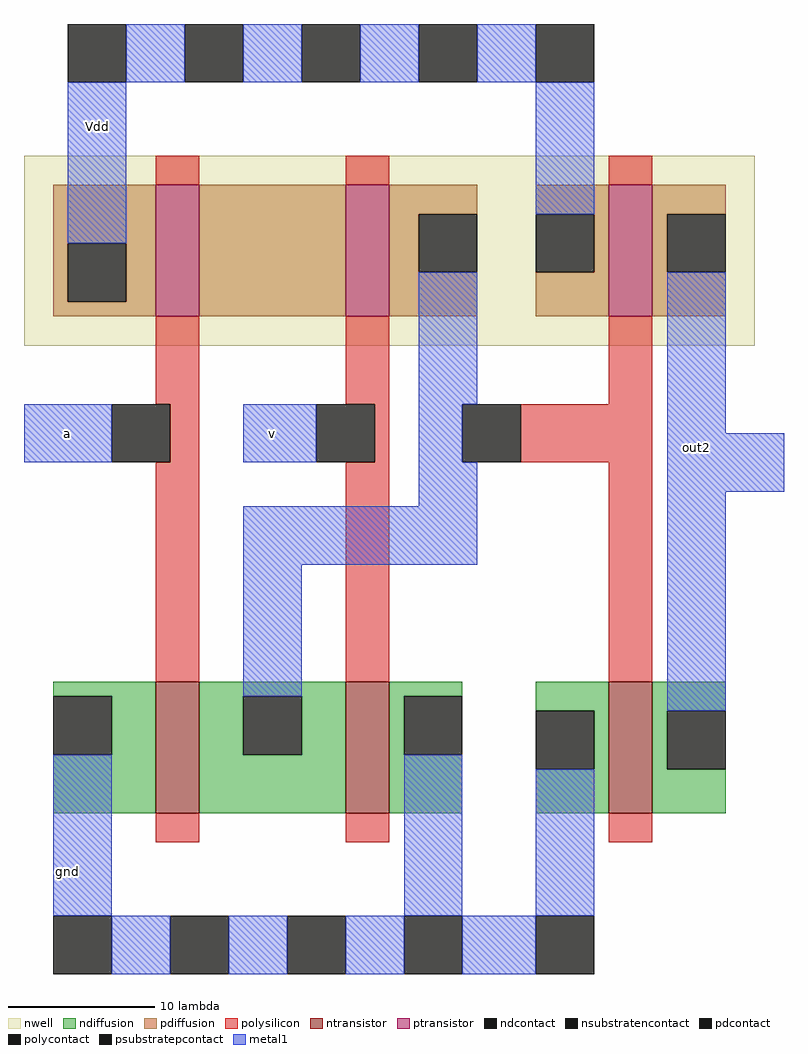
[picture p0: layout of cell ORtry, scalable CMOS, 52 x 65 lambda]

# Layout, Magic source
magic
tech scmos
<< nwell >>
rect -8 -5 42 8
<< polysilicon >>
rect 1 6 4 8
rect 14 6 17 8
rect 32 6 35 8
rect 1 -9 4 -3
rect 14 -9 17 -3
rect 32 -9 35 -3
rect 2 -13 4 -9
rect 16 -13 17 -9
rect 26 -13 35 -9
rect 1 -28 4 -13
rect 14 -28 17 -13
rect 32 -28 35 -13
rect 1 -39 4 -37
rect 14 -39 17 -37
rect 32 -39 35 -37
<< ndiffusion >>
rect -6 -29 1 -28
rect -2 -33 1 -29
rect -6 -37 1 -33
rect 4 -29 14 -28
rect 4 -33 7 -29
rect 11 -33 14 -29
rect 4 -37 14 -33
rect 17 -29 22 -28
rect 17 -33 18 -29
rect 17 -37 22 -33
rect 27 -30 32 -28
rect 31 -34 32 -30
rect 27 -37 32 -34
rect 35 -30 40 -28
rect 35 -34 36 -30
rect 35 -37 40 -34
<< pdiffusion >>
rect -6 2 1 6
rect -6 -2 -5 2
rect -1 -2 1 2
rect -6 -3 1 -2
rect 4 -3 14 6
rect 17 4 23 6
rect 17 0 19 4
rect 17 -3 23 0
rect 27 4 32 6
rect 31 0 32 4
rect 27 -3 32 0
rect 35 4 40 6
rect 35 0 36 4
rect 35 -3 40 0
<< metal1 >>
rect -1 13 3 17
rect 7 13 11 17
rect 15 13 19 17
rect 23 13 27 17
rect -5 2 -1 13
rect 27 4 31 13
rect 19 -9 23 0
rect -8 -13 -2 -9
rect 7 -13 12 -9
rect 19 -13 22 -9
rect 36 -11 40 0
rect 19 -16 23 -13
rect 7 -20 23 -16
rect 36 -15 44 -11
rect 7 -29 11 -20
rect 36 -30 40 -15
rect -6 -44 -2 -33
rect 18 -44 22 -33
rect 27 -44 31 -34
rect -2 -48 2 -44
rect 6 -48 10 -44
rect 14 -48 18 -44
rect 22 -48 27 -44
<< ntransistor >>
rect 1 -37 4 -28
rect 14 -37 17 -28
rect 32 -37 35 -28
<< ptransistor >>
rect 1 -3 4 6
rect 14 -3 17 6
rect 32 -3 35 6
<< polycontact >>
rect -2 -13 2 -9
rect 12 -13 16 -9
rect 22 -13 26 -9
<< ndcontact >>
rect -6 -33 -2 -29
rect 7 -33 11 -29
rect 18 -33 22 -29
rect 27 -34 31 -30
rect 36 -34 40 -30
<< pdcontact >>
rect -5 -2 -1 2
rect 19 0 23 4
rect 27 0 31 4
rect 36 0 40 4
<< psubstratepcontact >>
rect -6 -48 -2 -44
rect 2 -48 6 -44
rect 10 -48 14 -44
rect 18 -48 22 -44
rect 27 -48 31 -44
<< nsubstratencontact >>
rect -5 13 -1 17
rect 3 13 7 17
rect 11 13 15 17
rect 19 13 23 17
rect 27 13 31 17
<< labels >>
rlabel metal1 -3 10 -3 10 3 Vdd
rlabel metal1 -5 -41 -5 -41 3 gnd
rlabel metal1 -5 -11 -5 -11 3 a
rlabel metal1 9 -11 9 -11 1 v
rlabel metal1 9 -11 9 -11 1 b
rlabel metal1 38 -12 38 -12 7 out2
<< end >>
